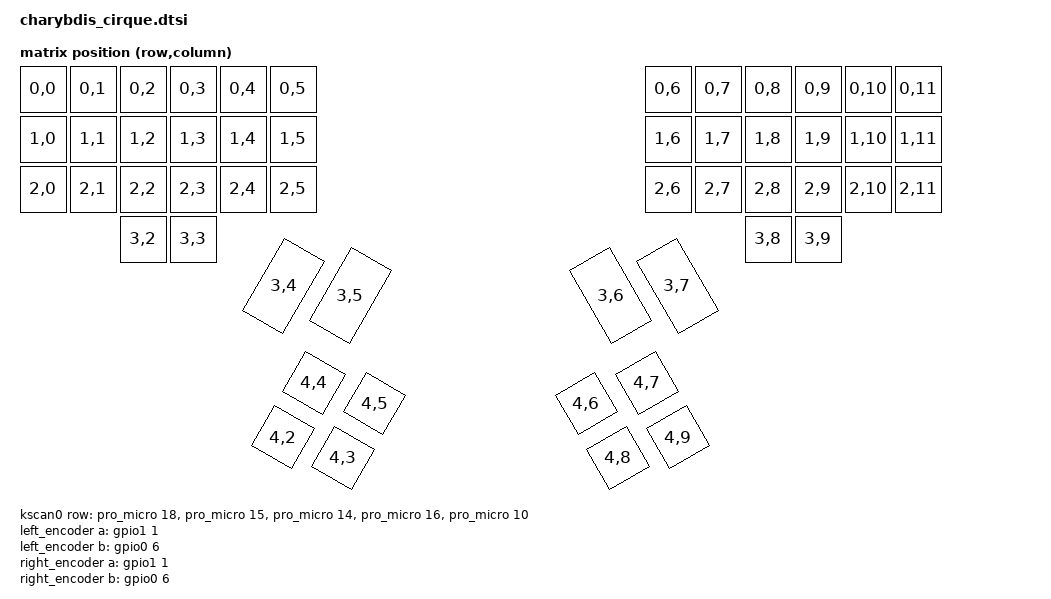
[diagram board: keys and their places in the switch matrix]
#include <dt-bindings/zmk/matrix_transform.h>
#include <physical_layouts.dtsi>

/ {
    chosen {
        zephyr,display = &oled;
        zmk,kscan = &kscan0;
        /* ZMK Studio 要求使用 physical layout（不能再只用 zmk,matrix_transform chosen）。 */
        zmk,physical-layout = &physical_layout0;
    };

    /*
     * 物理布局：ZMK Studio 用它渲染按键预览，并把改键结果映射回矩阵。
     * keys 单位 1/100 u，顺序必须与 default_transform 的 map 顺序一致（共 52 键）。
     */
    physical_layout0: physical_layout_0 {
        compatible = "zmk,physical-layout";
        display-name = "Charybdis 3360";
        transform = <&default_transform>;
        kscan = <&kscan0>;

        keys  //                     w   h    x    y   rot   rx   ry
            = <&key_physical_attrs 100 100    0    0       0     0     0>
            , <&key_physical_attrs 100 100  100    0       0     0     0>
            , <&key_physical_attrs 100 100  200    0       0     0     0>
            , <&key_physical_attrs 100 100  300    0       0     0     0>
            , <&key_physical_attrs 100 100  400    0       0     0     0>
            , <&key_physical_attrs 100 100  500    0       0     0     0>
            , <&key_physical_attrs 100 100 1250    0       0     0     0>
            , <&key_physical_attrs 100 100 1350    0       0     0     0>
            , <&key_physical_attrs 100 100 1450    0       0     0     0>
            , <&key_physical_attrs 100 100 1550    0       0     0     0>
            , <&key_physical_attrs 100 100 1650    0       0     0     0>
            , <&key_physical_attrs 100 100 1750    0       0     0     0>
            , <&key_physical_attrs 100 100    0  100       0     0     0>
            , <&key_physical_attrs 100 100  100  100       0     0     0>
            , <&key_physical_attrs 100 100  200  100       0     0     0>
            , <&key_physical_attrs 100 100  300  100       0     0     0>
            , <&key_physical_attrs 100 100  400  100       0     0     0>
            , <&key_physical_attrs 100 100  500  100       0     0     0>
            , <&key_physical_attrs 100 100 1250  100       0     0     0>
            , <&key_physical_attrs 100 100 1350  100       0     0     0>
            , <&key_physical_attrs 100 100 1450  100       0     0     0>
            , <&key_physical_attrs 100 100 1550  100       0     0     0>
            , <&key_physical_attrs 100 100 1650  100       0     0     0>
            , <&key_physical_attrs 100 100 1750  100       0     0     0>
            , <&key_physical_attrs 100 100    0  200       0     0     0>
            , <&key_physical_attrs 100 100  100  200       0     0     0>
            , <&key_physical_attrs 100 100  200  200       0     0     0>
            , <&key_physical_attrs 100 100  300  200       0     0     0>
            , <&key_physical_attrs 100 100  400  200       0     0     0>
            , <&key_physical_attrs 100 100  500  200       0     0     0>
            , <&key_physical_attrs 100 100 1250  200       0     0     0>
            , <&key_physical_attrs 100 100 1350  200       0     0     0>
            , <&key_physical_attrs 100 100 1450  200       0     0     0>
            , <&key_physical_attrs 100 100 1550  200       0     0     0>
            , <&key_physical_attrs 100 100 1650  200       0     0     0>
            , <&key_physical_attrs 100 100 1750  200       0     0     0>
            , <&key_physical_attrs 100 100  200  300       0     0     0>
            , <&key_physical_attrs 100 100  300  300       0     0     0>
            , <&key_physical_attrs 100 175  550  375    3000   600   325>
            , <&key_physical_attrs 100 175  675  325    3000   600   325>
            , <&key_physical_attrs 100 175 1075  325 (-3000)  1250   325>
            , <&key_physical_attrs 100 175 1200  375 (-3000)  1250   325>
            , <&key_physical_attrs 100 100 1450  300       0     0     0>
            , <&key_physical_attrs 100 100 1550  300       0     0     0>
            , <&key_physical_attrs 100 100  700  675    3000   600   325>
            , <&key_physical_attrs 100 100  825  650    3000   600   325>
            , <&key_physical_attrs 100 100  700  550    3000   600   325>
            , <&key_physical_attrs 100 100  825  525    3000   600   325>
            , <&key_physical_attrs 100 100  925  525 (-3000)  1250   325>
            , <&key_physical_attrs 100 100 1050  550 (-3000)  1250   325>
            , <&key_physical_attrs 100 100  925  650 (-3000)  1250   325>
            , <&key_physical_attrs 100 100 1050  675 (-3000)  1250   325>
            ;
    };

    default_transform: keymap_transform_0 {
        compatible = "zmk,matrix-transform";
        columns = <12>;
        rows = <5>;

        map = <
RC(0,0) RC(0,1) RC(0,2) RC(0,3) RC(0,4) RC(0,5)  RC(0,6)  RC(0,7) RC(0,8) RC(0,9) RC(0,10) RC(0,11)
RC(1,0) RC(1,1) RC(1,2) RC(1,3) RC(1,4) RC(1,5)  RC(1,6)  RC(1,7) RC(1,8) RC(1,9) RC(1,10) RC(1,11)
RC(2,0) RC(2,1) RC(2,2) RC(2,3) RC(2,4) RC(2,5)  RC(2,6)  RC(2,7) RC(2,8) RC(2,9) RC(2,10) RC(2,11)
                RC(3,2) RC(3,3) RC(3,4) RC(3,5)  RC(3,6)  RC(3,7) RC(3,8) RC(3,9)
                RC(4,2) RC(4,3) RC(4,4) RC(4,5)  RC(4,6)  RC(4,7) RC(4,8) RC(4,9)
        >;
    };

    kscan0: kscan {
        compatible = "zmk,kscan-gpio-matrix";
        label = "KSCAN";

        diode-direction = "col2row";
        row-gpios
            = <&pro_micro 18 (GPIO_ACTIVE_HIGH | GPIO_PULL_DOWN)>
            , <&pro_micro 15 (GPIO_ACTIVE_HIGH | GPIO_PULL_DOWN)>
            , <&pro_micro 14 (GPIO_ACTIVE_HIGH | GPIO_PULL_DOWN)>
            , <&pro_micro 16 (GPIO_ACTIVE_HIGH | GPIO_PULL_DOWN)>
            , <&pro_micro 10 (GPIO_ACTIVE_HIGH | GPIO_PULL_DOWN)>
            ;
    };

    /* encoders */
    left_encoder: encoder_left {
        compatible = "alps,ec11";
        status = "disabled";
        a-gpios = <&gpio1 1 (GPIO_ACTIVE_LOW | GPIO_PULL_UP)>;
        b-gpios = <&gpio0 6 (GPIO_ACTIVE_LOW | GPIO_PULL_UP)>;
        /* steps = 每圈脉冲数，与 triggers-per-rotation 保持 2:1（40 : 20） */
        steps = <40>;
    };

    right_encoder: encoder_right {
        compatible = "alps,ec11";
        status = "disabled";
        a-gpios = <&gpio1 1 (GPIO_ACTIVE_LOW | GPIO_PULL_UP)>;
        b-gpios = <&gpio0 6 (GPIO_ACTIVE_LOW | GPIO_PULL_UP)>;
        steps = <40>;
    };

    sensors {
        compatible = "zmk,keymap-sensors";
        sensors = <&left_encoder &right_encoder>;
        /* 一圈 20 格；与 steps=<40> 组成 2:1，每 2 个脉冲算 1 步 */
        triggers-per-rotation = <20>;
    };

    /*
     * 轨迹球 input-listener：把 PMW3360 传感器的 input 事件（INPUT_REL_X/Y）
     * 接入 ZMK 输入子系统，经默认 pointing 输出映射为鼠标移动。
     */
    trackball_listener {
        compatible = "zmk,input-listener";
        status = "okay";
        device = <&trackball>;
    };
};

/*
 * PMW3360 轨迹球走 SPI（ZMK v0.3 / Zephyr 3.5 里 nice!nano 的 pro_micro_spi = &spi1）。
 * 3360 接线（与 test 分支旧 fork 一致）：SCK=P0.31 / MOSI=P0.20 / MISO=P0.17，
 * CS=P0.29，IRQ=P0.08。这里覆盖 spi1 的 pinctrl 到硬件实际引脚。
 */
&pinctrl {
    spi1_default: spi1_default {
        group1 {
            psels = <NRF_PSEL(SPIM_SCK, 0, 31)>,
                <NRF_PSEL(SPIM_MOSI, 0, 20)>,
                <NRF_PSEL(SPIM_MISO, 0, 17)>;
        };
    };

    spi1_sleep: spi1_sleep {
        group1 {
            psels = <NRF_PSEL(SPIM_SCK, 0, 31)>,
                <NRF_PSEL(SPIM_MOSI, 0, 20)>,
                <NRF_PSEL(SPIM_MISO, 0, 17)>;
            low-power-enable;
        };
    };

    i2c0_default: i2c0_default {
        group1 {
            psels = <NRF_PSEL(TWIM_SDA, 1, 2)>,
                <NRF_PSEL(TWIM_SCL, 1, 7)>;
        };
    };

    i2c0_sleep: i2c0_sleep {
        group1 {
            psels = <NRF_PSEL(TWIM_SDA, 1, 2)>,
                <NRF_PSEL(TWIM_SCL, 1, 7)>;
            low-power-enable;
        };
    };
};

&pro_micro_spi {
    compatible = "nordic,nrf-spim";
    status = "disabled";
    pinctrl-0 = <&spi1_default>;
    pinctrl-1 = <&spi1_sleep>;
    pinctrl-names = "default", "sleep";
    cs-gpios = <&gpio0 29 GPIO_ACTIVE_LOW>;

    trackball: trackball@0 {
        compatible = "pixart,pmw3360";
        status = "disabled";
        reg = <0>;
        irq-gpios = <&gpio0 8 (GPIO_ACTIVE_LOW | GPIO_PULL_UP)>;
        spi-max-frequency = <2000000>;
        /* 在第 2 层（SYMBOL 层）时轨迹球移动转为滚轮（对应旧 fork 的 scroll-layer=<2>） */
        scroll-layers = <2>;
    };
};

&pro_micro_i2c {
    compatible = "nordic,nrf-twi";
    status = "okay";
    pinctrl-0 = <&i2c0_default>;
    pinctrl-1 = <&i2c0_sleep>;
    pinctrl-names = "default", "sleep";

    oled: ssd1306@3c {
        compatible = "solomon,ssd1306fb";
        reg = <0x3c>;
        label = "DISPLAY";
        width = <128>;
        height = <32>;
        segment-offset = <0>;
        page-offset = <0>;
        display-offset = <0>;
        multiplex-ratio = <31>;
        segment-remap;
        com-invdir;
        com-sequential;
        prechargep = <0x22>;
    };
};
